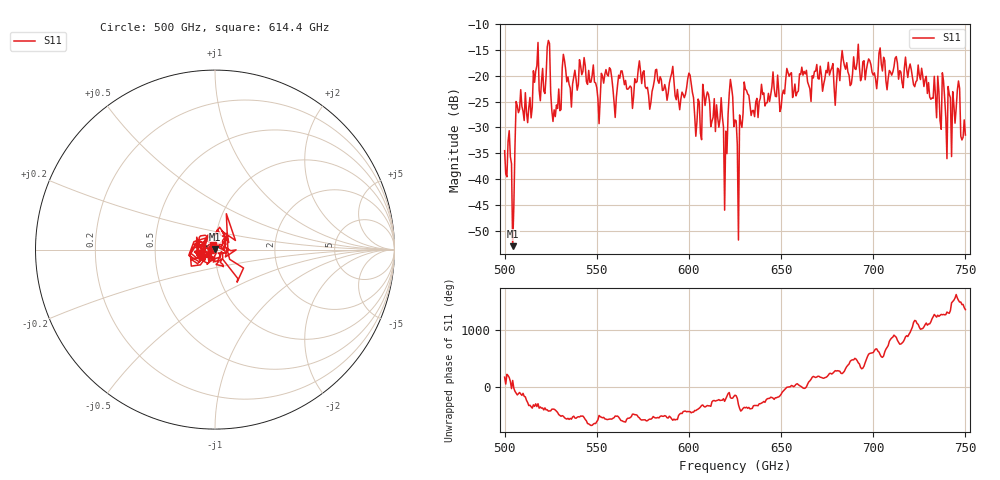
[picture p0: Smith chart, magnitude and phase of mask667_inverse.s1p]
!Created with skrf (http://scikit-rf.org).
# GHz S MA R 50.0
!freq magS11 angS11
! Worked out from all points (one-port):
!   401 points, 500 GHz to 750 GHz, reference 50 ohm
!   lowest |S11| = -53.0 dB at 504.4 GHz (marker M1), VSWR 1.00, Z = 49.9 + j0.199 ohm
!   |S11| at or under -10 dB: start of sweep to end of sweep
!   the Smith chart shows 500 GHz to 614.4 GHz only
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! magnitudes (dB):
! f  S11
! 500 GHz  -34.5
! 504.4 GHz  -53.0
! 507.5 GHz  -27.2
! 513.8 GHz  -24.2
! 516.9 GHz  -19.1
! 520.6 GHz  -18.6
! 523.8 GHz  -13.2
! 526.9 GHz  -26.6
! 531.2 GHz  -18.6
! 560 GHz  -28.1
! 562.5 GHz  -20.5
! 593.8 GHz  -22.7
! 600.6 GHz  -19.9
! 605.6 GHz  -25.1
! 608.8 GHz  -25.8
! 619.4 GHz  -46.0
! 622.5 GHz  -20.7
! 625 GHz  -28.6
! 625.6 GHz  -28.7
! 627.5 GHz  -27.6
! 631.2 GHz  -22.8
! 634.4 GHz  -26.8
! 656.2 GHz  -24.2
! 687.5 GHz  -21.9
! 718.8 GHz  -20.3
! 741.2 GHz  -23.6
! 745.6 GHz  -22.8
! 750 GHz  -31.5
